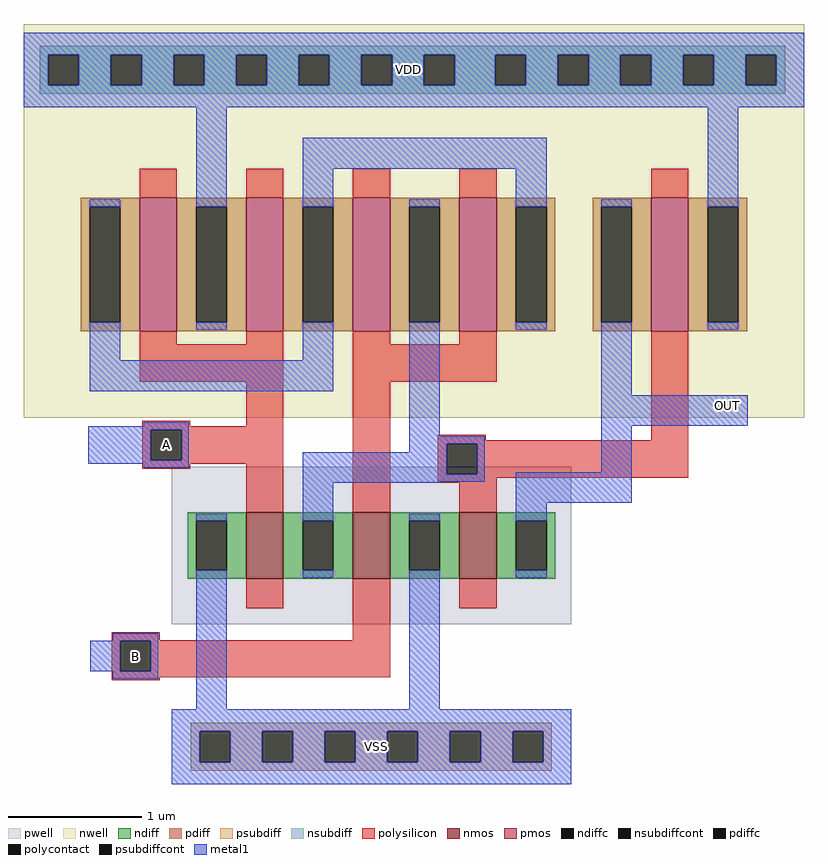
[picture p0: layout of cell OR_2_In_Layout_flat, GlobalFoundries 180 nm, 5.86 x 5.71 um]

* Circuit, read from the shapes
.subckt OR_2_In_Layout_flat VDD VSS A B OUT
XM1 n1 A VSS VSS nfet_03v3 w=0.5u l=0.28u
XM2 VSS B n1 VSS nfet_03v3 w=0.5u l=0.28u
XM3 OUT n1 VSS VSS nfet_03v3 w=0.5u l=0.28u
XM4 VDD A n2 VDD pfet_03v3 w=1u l=0.28u m=2
XM5 n1 B n2 VDD pfet_03v3 w=1u l=0.28u m=2
XM6 VDD n1 OUT VDD pfet_03v3 w=1u l=0.28u
.ends

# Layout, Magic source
magic
tech gf180mcuC
magscale 1 10
<< nwell >>
rect 0 310 1172 901
<< pwell >>
rect 222 0 822 236
<< nmos >>
rect 334 68 390 168
rect 494 68 550 168
rect 654 68 710 168
<< pmos >>
rect 174 440 230 640
rect 334 440 390 640
rect 494 440 550 640
rect 654 440 710 640
rect 942 440 998 640
<< ndiff >>
rect 246 155 334 168
rect 246 81 259 155
rect 305 81 334 155
rect 246 68 334 81
rect 390 155 494 168
rect 390 81 419 155
rect 465 81 494 155
rect 390 68 494 81
rect 550 155 654 168
rect 550 81 579 155
rect 625 81 654 155
rect 550 68 654 81
rect 710 155 798 168
rect 710 81 739 155
rect 785 81 798 155
rect 710 68 798 81
<< pdiff >>
rect 86 627 174 640
rect 86 453 99 627
rect 145 453 174 627
rect 86 440 174 453
rect 230 627 334 640
rect 230 453 259 627
rect 305 453 334 627
rect 230 440 334 453
rect 390 627 494 640
rect 390 453 419 627
rect 465 453 494 627
rect 390 440 494 453
rect 550 627 654 640
rect 550 453 579 627
rect 625 453 654 627
rect 550 440 654 453
rect 710 627 798 640
rect 710 453 739 627
rect 785 453 798 627
rect 710 440 798 453
rect 854 627 942 640
rect 854 453 867 627
rect 913 453 942 627
rect 854 440 942 453
rect 998 627 1086 640
rect 998 453 1027 627
rect 1073 453 1086 627
rect 998 440 1086 453
<< ndiffc >>
rect 259 81 305 155
rect 419 81 465 155
rect 579 81 625 155
rect 739 81 785 155
<< pdiffc >>
rect 99 453 145 627
rect 259 453 305 627
rect 419 453 465 627
rect 579 453 625 627
rect 739 453 785 627
rect 867 453 913 627
rect 1027 453 1073 627
<< psubdiff >>
rect 251 -161 793 -148
rect 251 -207 264 -161
rect 310 -207 358 -161
rect 404 -207 452 -161
rect 498 -207 546 -161
rect 592 -207 640 -161
rect 686 -207 734 -161
rect 780 -207 793 -161
rect 251 -220 793 -207
<< nsubdiff >>
rect 24 855 1143 868
rect 24 809 37 855
rect 83 809 131 855
rect 177 809 225 855
rect 271 809 319 855
rect 365 809 413 855
rect 459 809 507 855
rect 553 809 601 855
rect 647 809 708 855
rect 754 809 802 855
rect 848 809 896 855
rect 942 809 990 855
rect 1036 809 1084 855
rect 1130 809 1143 855
rect 24 796 1143 809
<< psubdiffcont >>
rect 264 -207 310 -161
rect 358 -207 404 -161
rect 452 -207 498 -161
rect 546 -207 592 -161
rect 640 -207 686 -161
rect 734 -207 780 -161
<< nsubdiffcont >>
rect 37 809 83 855
rect 131 809 177 855
rect 225 809 271 855
rect 319 809 365 855
rect 413 809 459 855
rect 507 809 553 855
rect 601 809 647 855
rect 708 809 754 855
rect 802 809 848 855
rect 896 809 942 855
rect 990 809 1036 855
rect 1084 809 1130 855
<< polysilicon >>
rect 174 640 230 684
rect 334 640 390 684
rect 494 640 550 684
rect 654 640 710 684
rect 942 640 998 684
rect 174 420 230 440
rect 334 420 390 440
rect 174 364 390 420
rect 178 297 250 305
rect 334 297 390 364
rect 178 292 390 297
rect 178 246 191 292
rect 237 246 390 292
rect 178 241 390 246
rect 178 233 250 241
rect 334 168 390 241
rect 494 420 550 440
rect 654 420 710 440
rect 494 364 710 420
rect 494 168 550 364
rect 622 276 694 284
rect 942 276 998 440
rect 622 271 998 276
rect 622 225 635 271
rect 681 225 998 271
rect 622 220 998 225
rect 622 212 710 220
rect 654 168 710 212
rect 334 24 390 68
rect 132 -24 204 -12
rect 494 -24 550 68
rect 654 24 710 68
rect 132 -25 550 -24
rect 132 -71 145 -25
rect 191 -71 550 -25
rect 132 -80 550 -71
rect 132 -84 204 -80
<< polycontact >>
rect 191 246 237 292
rect 635 225 681 271
rect 145 -71 191 -25
<< metal1 >>
rect 0 855 1172 888
rect 0 809 37 855
rect 83 809 131 855
rect 177 809 225 855
rect 271 809 319 855
rect 365 809 413 855
rect 459 809 507 855
rect 553 809 601 855
rect 647 809 708 855
rect 754 809 802 855
rect 848 809 896 855
rect 942 809 990 855
rect 1036 809 1084 855
rect 1130 809 1172 855
rect 0 776 1172 809
rect 99 627 145 638
rect 99 396 145 453
rect 259 627 305 776
rect 259 442 305 453
rect 419 684 785 730
rect 419 627 465 684
rect 419 396 465 453
rect 99 350 465 396
rect 579 627 625 638
rect 180 297 248 303
rect 97 292 248 297
rect 97 246 191 292
rect 237 246 248 292
rect 579 282 625 453
rect 739 627 785 684
rect 739 442 785 453
rect 867 627 913 638
rect 867 344 913 453
rect 1027 627 1073 776
rect 1027 442 1073 453
rect 867 298 1087 344
rect 579 271 692 282
rect 579 258 635 271
rect 97 241 248 246
rect 180 235 248 241
rect 419 225 635 258
rect 681 225 692 271
rect 867 228 913 298
rect 419 214 692 225
rect 419 212 625 214
rect 259 155 305 166
rect 134 -25 202 -14
rect 100 -71 145 -25
rect 191 -71 202 -25
rect 134 -82 202 -71
rect 259 -128 305 81
rect 419 155 465 212
rect 739 182 913 228
rect 419 70 465 81
rect 579 155 625 166
rect 579 -128 625 81
rect 739 155 785 182
rect 739 70 785 81
rect 222 -161 822 -128
rect 222 -207 264 -161
rect 310 -207 358 -161
rect 404 -207 452 -161
rect 498 -207 546 -161
rect 592 -207 640 -161
rect 686 -207 734 -161
rect 780 -207 822 -161
rect 222 -240 822 -207
<< labels >>
flabel metal1 577 832 577 832 0 FreeSans 320 0 0 0 VDD
port 5 nsew
flabel metal1 530 -184 530 -184 0 FreeSans 320 0 0 0 VSS
port 6 nsew
flabel polycontact 214 269 214 269 0 FreeSans 320 0 0 0 A
port 7 nsew
flabel polycontact 168 -48 168 -48 0 FreeSans 320 0 0 0 B
port 8 nsew
flabel metal1 1057 328 1057 328 0 FreeSans 320 0 0 0 OUT
port 9 nsew
<< end >>
